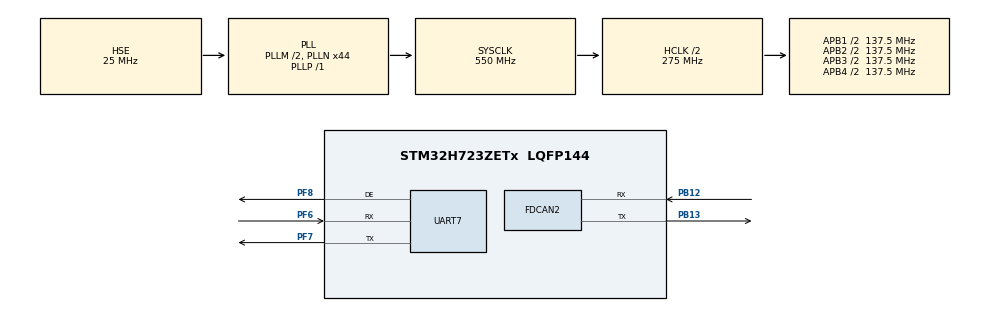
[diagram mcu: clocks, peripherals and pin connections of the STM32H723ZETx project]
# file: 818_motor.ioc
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CORTEX_M7.CPU_DCache=Enabled
CORTEX_M7.CPU_ICache=Enabled
CORTEX_M7.DisableExec_Spec=MPU_INSTRUCTION_ACCESS_ENABLE
CORTEX_M7.IsCacheable_Spec=MPU_ACCESS_CACHEABLE
CORTEX_M7.IsShareable_Spec=MPU_ACCESS_SHAREABLE
CORTEX_M7.default_mode_Activation=1
FDCAN2.CalculateBaudRateNominal=833333
FDCAN2.CalculateTimeBitNominal=1200
FDCAN2.CalculateTimeQuantumNominal=400.0
Mcu.Family=STM32H7
Mcu.Name=STM32H723ZETx
Mcu.Package=LQFP144
NVIC.FDCAN2_IT0_IRQn=true\:5\:0\:true\:false\:true\:true\:true\:true
NVIC.FDCAN2_IT1_IRQn=true\:5\:0\:true\:false\:true\:true\:true\:true
NVIC.PriorityGroup=NVIC_PRIORITYGROUP_4
NVIC.TIM1_UP_IRQn=true\:15\:0\:false\:false\:true\:false\:true\:true
NVIC.TIM2_IRQn=true\:5\:0\:true\:false\:true\:true\:true\:true
NVIC.TimeBase=TIM1_UP_IRQn
NVIC.TimeBaseIP=TIM1
PB12.Mode=FDCAN_Activate
PB12.Signal=FDCAN2_RX
PB13.Mode=FDCAN_Activate
PB13.Signal=FDCAN2_TX
PF6.Mode=Asynchronous
PF6.Signal=UART7_RX
PF7.Mode=Asynchronous
PF7.Signal=UART7_TX
PF8.Mode=Hardware Flow Control (RS485)
PF8.Signal=UART7_DE
PH0-OSC_IN.Mode=HSE-External-Oscillator
PH0-OSC_IN.Signal=RCC_OSC_IN
PH1-OSC_OUT.Mode=HSE-External-Oscillator
PH1-OSC_OUT.Signal=RCC_OSC_OUT
ProjectManager.HeapSize=0x800
ProjectManager.StackSize=0x400
ProjectManager.TargetToolchain=MDK-ARM V5.32
RCC.ADCFreq_Value=100000000
RCC.APB1Freq_Value=137500000
RCC.APB2Freq_Value=137500000
RCC.APB3Freq_Value=137500000
RCC.APB4Freq_Value=137500000
RCC.CortexFreq_Value=550000000
RCC.D1PPRE=RCC_APB3_DIV2
RCC.D2PPRE1=RCC_APB1_DIV2
RCC.D2PPRE2=RCC_APB2_DIV2
RCC.D3PPRE=RCC_APB4_DIV2
RCC.DIVM1=2
RCC.DIVM2=2
RCC.DIVN1=44
RCC.DIVN2=16
RCC.DIVP1=1
RCC.DIVQ2=5
RCC.FDCANCLockSelection=RCC_FDCANCLKSOURCE_PLL2
RCC.HCLKFreq_Value=275000000
RCC.HPRE=RCC_HCLK_DIV2
RCC.PLLFRACN=0
RCC.PLLSourceVirtual=RCC_PLLSOURCE_HSE
RCC.SYSCLKFreq_VALUE=550000000
RCC.SYSCLKSource=RCC_SYSCLKSOURCE_PLLCLK
RCC.USBFreq_Value=275000000
TIM2.Period=999
TIM2.Prescaler=274
VP_MEMORYMAP_VS_MEMORYMAP.Mode=CurAppReg
VP_SYS_VS_tim1.Mode=TIM1
VP_TIM2_VS_ClockSourceINT.Mode=Internal
board=custom

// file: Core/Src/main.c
/* USER CODE BEGIN Header */
/**
  ******************************************************************************
  * @file           : main.c
  * @brief          : Main program body
  ******************************************************************************
  * @attention
  *
  * Copyright (c) 2026 STMicroelectronics.
  * All rights reserved.
  *
  * This software is licensed under terms that can be found in the LICENSE file
  * in the root directory of this software component.
  * If no LICENSE file comes with this software, it is provided AS-IS.
  *
  ******************************************************************************
  */
/* USER CODE END Header */
#include "main.h"
#include "fdcan.h"
#include "tim.h"
#include "usart.h"
#include "gpio.h"

/* USER CODE BEGIN Includes */
#include "dj_motor.h"
/* USER CODE END Includes */

void SystemClock_Config(void);
static void MPU_Config(void);

int main(void)
{

  /* MPU Configuration--------------------------------------------------------*/
  MPU_Config();

  /* Enable the CPU Cache */

  /* Enable I-Cache---------------------------------------------------------*/
  SCB_EnableICache();

  /* Enable D-Cache---------------------------------------------------------*/
  SCB_EnableDCache();

  /* MCU Configuration--------------------------------------------------------*/

  /* Reset of all peripherals, Initializes the Flash interface and the Systick. */
  HAL_Init();

  /* Configure the system clock */
  SystemClock_Config();

  /* Initialize all configured peripherals */
  MX_GPIO_Init();
  MX_FDCAN2_Init();
  MX_UART7_Init();
  MX_TIM2_Init();
  /* USER CODE BEGIN 2 */
  /* 电机驱动初始化 */
  DJmotor_Init();

  HAL_TIM_Base_Start_IT(&htim2);

  /* ---- FDCAN2 收包配置：只接受标准帧 0x200~0x20F → FIFO0 ---- */
  FDCAN_FilterTypeDef sFilterConfig = {0};
  sFilterConfig.IdType       = FDCAN_STANDARD_ID;
  sFilterConfig.FilterIndex  = 0;
  sFilterConfig.FilterType   = FDCAN_FILTER_MASK;
  sFilterConfig.FilterConfig = FDCAN_FILTER_TO_RXFIFO0;
  sFilterConfig.FilterID1    = 0x200U << 18;   /* ID：反馈帧高 7 位 = 0x200 */
  sFilterConfig.FilterID2    = 0x7F0U << 18;   /* 掩码：只匹配高 7 位（0x200~0x20F） */
  HAL_FDCAN_ConfigFilter(&hfdcan2, &sFilterConfig);
  HAL_FDCAN_ConfigGlobalFilter(&hfdcan2, FDCAN_REJECT, FDCAN_REJECT,
                               FDCAN_REJECT_REMOTE, FDCAN_REJECT_REMOTE);
  HAL_FDCAN_Start(&hfdcan2);
  HAL_FDCAN_ActivateNotification(&hfdcan2, FDCAN_IT_RX_FIFO0_NEW_MESSAGE, 0);
  /* USER CODE END 2 */

  /* Infinite loop */
  while (1)
  {

  }
}

void SystemClock_Config(void)
{
  RCC_OscInitTypeDef RCC_OscInitStruct = {0};
  RCC_ClkInitTypeDef RCC_ClkInitStruct = {0};

  /** Supply configuration update enable
  */
  HAL_PWREx_ConfigSupply(PWR_LDO_SUPPLY);

  /** Configure the main internal regulator output voltage
  */
  __HAL_PWR_VOLTAGESCALING_CONFIG(PWR_REGULATOR_VOLTAGE_SCALE0);

  while(!__HAL_PWR_GET_FLAG(PWR_FLAG_VOSRDY)) {}

  /** Initializes the RCC Oscillators according to the specified parameters
  * in the RCC_OscInitTypeDef structure.
  */
  RCC_OscInitStruct.OscillatorType = RCC_OSCILLATORTYPE_HSE;
  RCC_OscInitStruct.HSEState = RCC_HSE_ON;
  RCC_OscInitStruct.PLL.PLLState = RCC_PLL_ON;
  RCC_OscInitStruct.PLL.PLLSource = RCC_PLLSOURCE_HSE;
  RCC_OscInitStruct.PLL.PLLM = 2;
  RCC_OscInitStruct.PLL.PLLN = 44;
  RCC_OscInitStruct.PLL.PLLP = 1;
  RCC_OscInitStruct.PLL.PLLQ = 2;
  RCC_OscInitStruct.PLL.PLLR = 2;
  RCC_OscInitStruct.PLL.PLLRGE = RCC_PLL1VCIRANGE_3;
  RCC_OscInitStruct.PLL.PLLVCOSEL = RCC_PLL1VCOWIDE;
  RCC_OscInitStruct.PLL.PLLFRACN = 0;
  if (HAL_RCC_OscConfig(&RCC_OscInitStruct) != HAL_OK)
  {
    Error_Handler();
  }

  /** Initializes the CPU, AHB and APB buses clocks
  */
  RCC_ClkInitStruct.ClockType = RCC_CLOCKTYPE_HCLK|RCC_CLOCKTYPE_SYSCLK
                              |RCC_CLOCKTYPE_PCLK1|RCC_CLOCKTYPE_PCLK2
                              |RCC_CLOCKTYPE_D3PCLK1|RCC_CLOCKTYPE_D1PCLK1;
  RCC_ClkInitStruct.SYSCLKSource = RCC_SYSCLKSOURCE_PLLCLK;
  RCC_ClkInitStruct.SYSCLKDivider = RCC_SYSCLK_DIV1;
  RCC_ClkInitStruct.AHBCLKDivider = RCC_HCLK_DIV2;
  RCC_ClkInitStruct.APB3CLKDivider = RCC_APB3_DIV2;
  RCC_ClkInitStruct.APB1CLKDivider = RCC_APB1_DIV2;
  RCC_ClkInitStruct.APB2CLKDivider = RCC_APB2_DIV2;
  RCC_ClkInitStruct.APB4CLKDivider = RCC_APB4_DIV2;

  if (HAL_RCC_ClockConfig(&RCC_ClkInitStruct, FLASH_LATENCY_3) != HAL_OK)
  {
    Error_Handler();
  }
}

/* USER CODE BEGIN 4 */

/* FDCAN2 收包回调：收到电机反馈帧就解包 */
void HAL_FDCAN_RxFifo0Callback(FDCAN_HandleTypeDef *hfdcan, uint32_t RxFifo0ITs)
{
    FDCAN_RxHeaderTypeDef RxHeader;
    uint8_t RxData[8];

    if (hfdcan->Instance == FDCAN2)
    {
        if (HAL_FDCAN_GetRxMessage(hfdcan, FDCAN_RX_FIFO0, &RxHeader, RxData) == HAL_OK)
        {
            DJmotor_Receive(RxHeader, RxData);
        }
    }
}

/* USER CODE END 4 */

 /* MPU Configuration */

void MPU_Config(void)
{
  MPU_Region_InitTypeDef MPU_InitStruct = {0};

  /* Disables the MPU */
  HAL_MPU_Disable();

  /** Initializes and configures the Region and the memory to be protected
  */
  MPU_InitStruct.Enable = MPU_REGION_ENABLE;
  MPU_InitStruct.Number = MPU_REGION_NUMBER0;
  MPU_InitStruct.BaseAddress = 0x0;
  MPU_InitStruct.Size = MPU_REGION_SIZE_4GB;
  MPU_InitStruct.SubRegionDisable = 0x87;
  MPU_InitStruct.TypeExtField = MPU_TEX_LEVEL0;
  MPU_InitStruct.AccessPermission = MPU_REGION_NO_ACCESS;
  MPU_InitStruct.DisableExec = MPU_INSTRUCTION_ACCESS_ENABLE;
  MPU_InitStruct.IsShareable = MPU_ACCESS_SHAREABLE;
  MPU_InitStruct.IsCacheable = MPU_ACCESS_CACHEABLE;
  MPU_InitStruct.IsBufferable = MPU_ACCESS_NOT_BUFFERABLE;

  HAL_MPU_ConfigRegion(&MPU_InitStruct);
  /* Enables the MPU */
  HAL_MPU_Enable(MPU_PRIVILEGED_DEFAULT);

}

void HAL_TIM_PeriodElapsedCallback(TIM_HandleTypeDef *htim)
{
  /* USER CODE BEGIN Callback 0 */
  if (htim->Instance == TIM2)
  {
    DJmotor_Func();
  }
  /* USER CODE END Callback 0 */
  if (htim->Instance == TIM1)
  {
    HAL_IncTick();
  }
}

void Error_Handler(void)
{
  __disable_irq();
  while (1)
  {
  }
}
